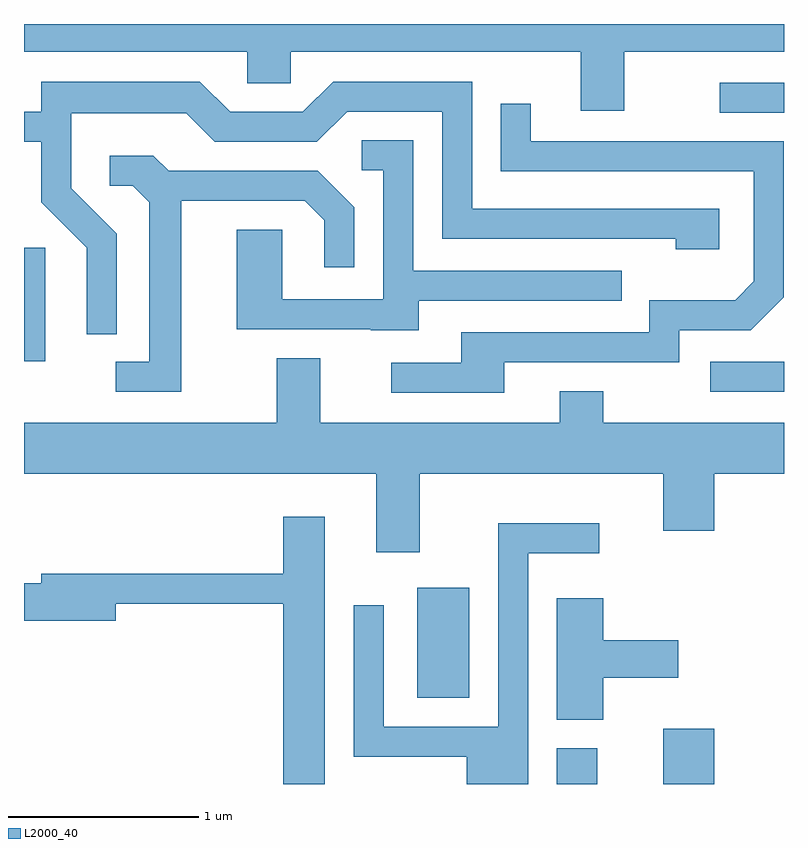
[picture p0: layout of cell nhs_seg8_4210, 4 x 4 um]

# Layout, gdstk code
import gdstk
lib = gdstk.Library(unit=1e-6, precision=1e-09)
def R(c, l, rs):  # rectangles x0, y0, x1, y1
    for r in rs: c.add(gdstk.rectangle(r[:2], r[2:], *l))
def P(c, l, *ps):  # polygons
    for p in ps: c.add(gdstk.Polygon(p, *l))
L2000_40 = (2000, 40)

nhs_seg8_4210 = lib.new_cell('nhs_seg8_4210')
R(nhs_seg8_4210, L2000_40, [(314.416,1830.342,314.629,1830.529), (314.976,1830.342,315.244,1830.634), (313.681,1830.796,313.954,1831.374), (315.223,1832.406,315.611,1832.564), (311.611,1832.566,311.724,1833.164), (315.273,1833.876,315.611,1834.034)])
P(nhs_seg8_4210, L2000_40, [(314.769,1834.196),(315.611,1834.196),(315.611,1834.342),(311.611,1834.342),(311.611,1834.196),(312.786,1834.196),(312.786,1834.031),(313.014,1834.031),(313.014,1834.196),(314.541,1834.196),(314.541,1833.886),(314.769,1833.886)],
  [(312.099,1833.237),(311.859,1833.477),(311.859,1833.871),(312.464,1833.871),(312.614,1833.721),(313.152,1833.721),(313.312,1833.881),(313.811,1833.881),(313.811,1833.211),(315.041,1833.211),(315.041,1833.156),(315.269,1833.156),(315.269,1833.369),(313.969,1833.369),(313.969,1834.039),(313.239,1834.039),(313.079,1833.879),(312.697,1833.879),(312.537,1834.039),(311.701,1834.039),(311.701,1833.879),(311.611,1833.879),(311.611,1833.721),(311.701,1833.721),(311.701,1833.404),(311.941,1833.164),(311.941,1832.708),(312.099,1832.708)],
  [(314.139,1832.561),(315.059,1832.561),(315.059,1832.731),(315.437,1832.731),(315.609,1832.904),(315.609,1833.724),(314.279,1833.724),(314.279,1833.923),(314.121,1833.923),(314.121,1833.566),(315.451,1833.566),(315.451,1832.987),(315.354,1832.889),(314.901,1832.889),(314.901,1832.719),(313.911,1832.719),(313.911,1832.559),(313.543,1832.559),(313.543,1832.401),(314.139,1832.401)],
  [(313.689,1832.886),(314.758,1832.886),(314.758,1833.044),(313.659,1833.044),(313.659,1833.729),(313.388,1833.729),(313.388,1833.571),(313.501,1833.571),(313.501,1832.894),(312.969,1832.894),(312.969,1833.259),(312.731,1833.259),(312.731,1832.736),(313.435,1832.736),(313.435,1832.731),(313.689,1832.731)],
  [(312.439,1833.411),(313.089,1833.411),(313.191,1833.309),(313.191,1833.063),(313.349,1833.063),(313.349,1833.377),(313.157,1833.569),(312.372,1833.569),(312.292,1833.649),(312.063,1833.649),(312.063,1833.491),(312.184,1833.491),(312.271,1833.404),(312.271,1832.564),(312.093,1832.564),(312.093,1832.406),(312.439,1832.406)],
  [(313.694,1831.976),(314.976,1831.976),(314.976,1831.676),(315.244,1831.676),(315.244,1831.976),(315.611,1831.976),(315.611,1832.244),(314.659,1832.244),(314.659,1832.409),(314.431,1832.409),(314.431,1832.244),(313.169,1832.244),(313.169,1832.584),(312.941,1832.584),(312.941,1832.244),(311.611,1832.244),(311.611,1831.976),(313.466,1831.976),(313.466,1831.561),(313.694,1831.561)],
  [(313.194,1831.749),(312.976,1831.749),(312.976,1831.449),(311.701,1831.449),(311.701,1831.399),(311.611,1831.399),(311.611,1831.201),(312.094,1831.201),(312.094,1831.291),(312.976,1831.291),(312.976,1830.342),(313.194,1830.342)],
  [(314.264,1831.556),(314.638,1831.556),(314.638,1831.714),(314.106,1831.714),(314.106,1830.644),(313.504,1830.644),(313.504,1831.283),(313.346,1831.283),(313.346,1830.486),(313.941,1830.486),(313.941,1830.342),(314.264,1830.342)],
  [(314.659,1830.901),(315.054,1830.901),(315.054,1831.099),(314.659,1831.099),(314.659,1831.319),(314.416,1831.319),(314.416,1830.681),(314.659,1830.681)])

lib.write_gds('nhs_seg8_4210.gds')
